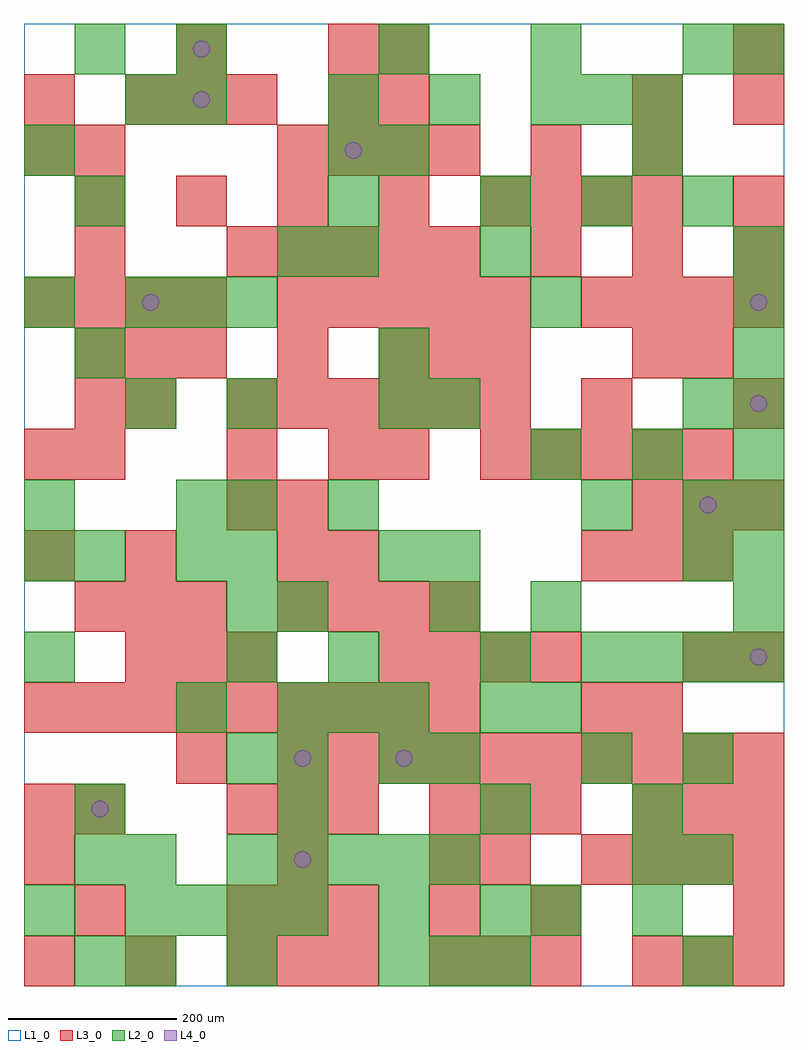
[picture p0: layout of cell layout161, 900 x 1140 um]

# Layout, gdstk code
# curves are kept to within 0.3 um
import gdstk
lib = gdstk.Library(unit=1e-6, precision=1e-09)
def R(c, l, rs):  # rectangles x0, y0, x1, y1
    for r in rs: c.add(gdstk.rectangle(r[:2], r[2:], *l))
def A(c, l, x, y, w, h, nx, ny, dx, dy):  # array of equal rectangles
    R(c, l, [(x+i*dx, y+j*dy, x+i*dx+w, y+j*dy+h) for i in range(nx) for j in range(ny)])
def P(c, l, *ps):  # polygons
    for p in ps: c.add(gdstk.Polygon(p, *l))
L1_0 = (1, 0)
L2_0 = (2, 0)
L3_0 = (3, 0)
L4_0 = (4, 0)

layout161 = lib.new_cell('layout161')
R(layout161, L1_0, [(0,0,900,1140)])
A(layout161, L2_0, 420, 0, 60, 60, 3, 1, 60, 0)
A(layout161, L2_0, 780, 0, 60, 60, 1, 3, 0, 120)
A(layout161, L2_0, 120, 60, 60, 60, 4, 1, 60, 0)
A(layout161, L2_0, 720, 60, 60, 60, 1, 3, 0, 60)
A(layout161, L2_0, 240, 120, 60, 60, 5, 1, 60, 0)
A(layout161, L2_0, 60, 180, 60, 60, 3, 1, 240, 0)
A(layout161, L2_0, 300, 300, 60, 60, 3, 1, 60, 0)
A(layout161, L2_0, 240, 360, 60, 60, 1, 4, 0, 60)
A(layout161, L2_0, 660, 360, 60, 60, 4, 1, 60, 0)
A(layout161, L2_0, 840, 420, 60, 60, 1, 3, 0, 60)
A(layout161, L2_0, 600, 600, 60, 60, 3, 1, 120, 0)
A(layout161, L2_0, 840, 660, 60, 60, 1, 4, 0, 60)
A(layout161, L2_0, 60, 720, 60, 60, 1, 3, 0, 180)
A(layout161, L2_0, 120, 780, 60, 60, 3, 1, 60, 0)
A(layout161, L2_0, 360, 840, 60, 60, 1, 3, 0, 60)
A(layout161, L2_0, 540, 900, 60, 60, 3, 1, 120, 0)
A(layout161, L2_0, 360, 1020, 60, 60, 3, 1, 120, 0)
A(layout161, L2_0, 420, 1080, 60, 60, 3, 1, 180, 0)
R(layout161, L2_0, [(60,0,120,60), (120,0,180,60), (240,0,300,60), (0,60,60,120), (420,60,480,120), (540,60,600,120), (600,60,660,120), (60,120,120,180), (120,120,180,180), (240,240,300,300), (300,240,360,300), (420,240,480,300), (480,240,540,300), (660,240,720,300), (180,300,240,360), (540,300,600,360), (600,300,660,360), (0,360,60,420), (360,360,420,420), (540,360,600,420), (300,420,360,480), (480,420,540,480), (600,420,660,480), (0,480,60,540), (60,480,120,540), (180,480,240,540), (420,480,480,540), (480,480,540,540), (780,480,840,540), (0,540,60,600), (180,540,240,600), (360,540,420,600), (660,540,720,600), (780,540,840,600), (120,660,180,720), (240,660,300,720), (420,660,480,720), (480,660,540,720), (780,660,840,720), (420,720,480,780), (0,780,60,840), (600,780,660,840), (300,840,360,900), (540,840,600,900), (0,960,60,1020), (420,960,480,1020), (720,960,780,1020), (120,1020,180,1080), (180,1020,240,1080), (660,1020,720,1080), (720,1020,780,1080), (180,1080,240,1140), (840,1080,900,1140)])
A(layout161, L3_0, 0, 0, 60, 60, 3, 1, 120, 0)
A(layout161, L3_0, 480, 0, 60, 60, 3, 2, 60, 180)
A(layout161, L3_0, 720, 0, 60, 60, 3, 2, 60, 180)
A(layout161, L3_0, 240, 60, 60, 60, 3, 2, 60, 120)
A(layout161, L3_0, 840, 60, 60, 60, 1, 3, 0, 300)
A(layout161, L3_0, 660, 120, 60, 60, 4, 2, 60, 660)
A(layout161, L3_0, 300, 240, 60, 60, 10, 1, 60, 0)
A(layout161, L3_0, 0, 300, 60, 60, 9, 1, 60, 0)
A(layout161, L3_0, 120, 360, 60, 60, 3, 2, 60, 660)
A(layout161, L3_0, 420, 360, 60, 60, 4, 1, 60, 0)
A(layout161, L3_0, 60, 420, 60, 60, 3, 2, 60, 300)
A(layout161, L3_0, 300, 420, 60, 60, 4, 2, 60, 540)
A(layout161, L3_0, 660, 480, 60, 60, 3, 1, 60, 0)
A(layout161, L3_0, 720, 540, 60, 60, 3, 1, 60, 0)
A(layout161, L3_0, 540, 600, 60, 60, 5, 1, 60, 0)
A(layout161, L3_0, 240, 660, 60, 60, 6, 1, 60, 0)
A(layout161, L3_0, 420, 720, 60, 60, 3, 1, 60, 0)
A(layout161, L3_0, 0, 780, 60, 60, 4, 1, 60, 0)
A(layout161, L3_0, 300, 780, 60, 60, 5, 1, 60, 0)
A(layout161, L3_0, 240, 840, 60, 60, 5, 1, 60, 0)
A(layout161, L3_0, 600, 840, 60, 60, 3, 1, 120, 0)
A(layout161, L3_0, 60, 900, 60, 60, 5, 1, 120, 0)
A(layout161, L3_0, 600, 900, 60, 60, 3, 1, 60, 0)
R(layout161, L3_0, [(300,0,360,60), (360,0,420,60), (60,60,120,120), (480,60,540,120), (600,60,660,120), (0,120,60,180), (300,120,360,180), (480,120,540,180), (540,120,600,180), (0,180,60,240), (60,180,120,240), (180,240,240,300), (660,300,720,360), (720,300,780,360), (780,360,840,420), (0,480,60,540), (120,480,180,540), (300,480,360,540), (360,480,420,540), (240,540,300,600), (300,540,360,600), (0,600,60,660), (60,600,120,660), (240,600,300,660), (360,600,420,660), (420,600,480,660), (60,660,120,720), (120,660,180,720), (660,660,720,720), (300,720,360,780), (720,720,780,780), (780,720,840,780), (60,840,120,900), (840,900,900,960), (0,960,60,1020), (60,960,120,1020), (600,960,660,1020), (720,960,780,1020), (0,1020,60,1080), (360,1020,420,1080), (420,1020,480,1080), (720,1020,780,1080), (840,1020,900,1080), (180,1080,240,1140), (360,1080,420,1140), (420,1080,480,1140), (840,1080,900,1140)])
P(layout161, L4_0, [(100,210),(99.239,213.827),(97.071,217.071),(93.827,219.239),(90,220),(86.173,219.239),(82.929,217.071),(80.761,213.827),(80,210),(80.761,206.173),(82.929,202.929),(86.173,200.761),(90,200),(93.827,200.761),(97.071,202.929),(99.239,206.173)],
  [(160,810),(159.239,813.827),(157.071,817.071),(153.827,819.239),(150,820),(146.173,819.239),(142.929,817.071),(140.761,813.827),(140,810),(140.761,806.173),(142.929,802.929),(146.173,800.761),(150,800),(153.827,800.761),(157.071,802.929),(159.239,806.173)],
  [(220,1050),(219.239,1053.827),(217.071,1057.071),(213.827,1059.239),(210,1060),(206.173,1059.239),(202.929,1057.071),(200.761,1053.827),(200,1050),(200.761,1046.173),(202.929,1042.929),(206.173,1040.761),(210,1040),(213.827,1040.761),(217.071,1042.929),(219.239,1046.173)],
  [(220,1110),(219.239,1113.827),(217.071,1117.071),(213.827,1119.239),(210,1120),(206.173,1119.239),(202.929,1117.071),(200.761,1113.827),(200,1110),(200.761,1106.173),(202.929,1102.929),(206.173,1100.761),(210,1100),(213.827,1100.761),(217.071,1102.929),(219.239,1106.173)],
  [(340,150),(339.239,153.827),(337.071,157.071),(333.827,159.239),(330,160),(326.173,159.239),(322.929,157.071),(320.761,153.827),(320,150),(320.761,146.173),(322.929,142.929),(326.173,140.761),(330,140),(333.827,140.761),(337.071,142.929),(339.239,146.173)],
  [(340,270),(339.239,273.827),(337.071,277.071),(333.827,279.239),(330,280),(326.173,279.239),(322.929,277.071),(320.761,273.827),(320,270),(320.761,266.173),(322.929,262.929),(326.173,260.761),(330,260),(333.827,260.761),(337.071,262.929),(339.239,266.173)],
  [(400,990),(399.239,993.827),(397.071,997.071),(393.827,999.239),(390,1000),(386.173,999.239),(382.929,997.071),(380.761,993.827),(380,990),(380.761,986.173),(382.929,982.929),(386.173,980.761),(390,980),(393.827,980.761),(397.071,982.929),(399.239,986.173)],
  [(460,270),(459.239,273.827),(457.071,277.071),(453.827,279.239),(450,280),(446.173,279.239),(442.929,277.071),(440.761,273.827),(440,270),(440.761,266.173),(442.929,262.929),(446.173,260.761),(450,260),(453.827,260.761),(457.071,262.929),(459.239,266.173)],
  [(820,570),(819.239,573.827),(817.071,577.071),(813.827,579.239),(810,580),(806.173,579.239),(802.929,577.071),(800.761,573.827),(800,570),(800.761,566.173),(802.929,562.929),(806.173,560.761),(810,560),(813.827,560.761),(817.071,562.929),(819.239,566.173)],
  [(880,390),(879.239,393.827),(877.071,397.071),(873.827,399.239),(870,400),(866.173,399.239),(862.929,397.071),(860.761,393.827),(860,390),(860.761,386.173),(862.929,382.929),(866.173,380.761),(870,380),(873.827,380.761),(877.071,382.929),(879.239,386.173)],
  [(880,690),(879.239,693.827),(877.071,697.071),(873.827,699.239),(870,700),(866.173,699.239),(862.929,697.071),(860.761,693.827),(860,690),(860.761,686.173),(862.929,682.929),(866.173,680.761),(870,680),(873.827,680.761),(877.071,682.929),(879.239,686.173)],
  [(880,810),(879.239,813.827),(877.071,817.071),(873.827,819.239),(870,820),(866.173,819.239),(862.929,817.071),(860.761,813.827),(860,810),(860.761,806.173),(862.929,802.929),(866.173,800.761),(870,800),(873.827,800.761),(877.071,802.929),(879.239,806.173)])

lib.write_gds('layout161.gds')
